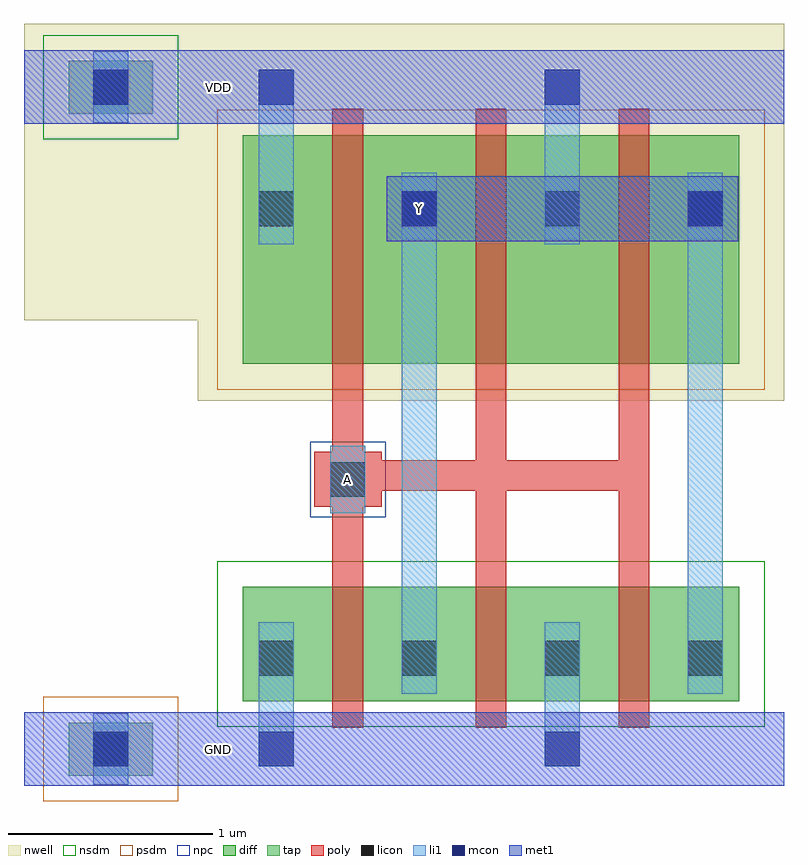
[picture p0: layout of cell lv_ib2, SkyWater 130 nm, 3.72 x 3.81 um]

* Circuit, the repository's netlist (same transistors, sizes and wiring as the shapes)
* NGSPICE file created from lv_ib2.ext - technology: sky130A

.subckt ib2 A Y VDD GND w_0_341# VSUBS
X0 Y A VDD w_0_341# sky130_fd_pr__pfet_01v8 ad=0.308 pd=1.67 as=0.4928 ps=3.12 w=1.12 l=0.15
X1 GND A Y VSUBS sky130_fd_pr__nfet_01v8 ad=0.154 pd=1.11 as=0.154 ps=1.11 w=0.56 l=0.15
X2 Y A GND VSUBS sky130_fd_pr__nfet_01v8 ad=0.2464 pd=2 as=0.154 ps=1.11 w=0.56 l=0.15
X3 Y A VDD w_0_341# sky130_fd_pr__pfet_01v8 ad=0.4928 pd=3.12 as=0.308 ps=1.67 w=1.12 l=0.15
X4 VDD A Y w_0_341# sky130_fd_pr__pfet_01v8 ad=0.308 pd=1.67 as=0.308 ps=1.67 w=1.12 l=0.15
X5 Y A GND VSUBS sky130_fd_pr__nfet_01v8 ad=0.154 pd=1.11 as=0.2464 ps=2 w=0.56 l=0.15
.ends

.subckt lv_ib2 A Y VDD GND
Xu A Y VDD GND VDD GND ib2
.ends

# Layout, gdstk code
import gdstk
lib = gdstk.Library(unit=1e-6, precision=1e-09)
def R(c, l, rs):  # rectangles x0, y0, x1, y1
    for r in rs: c.add(gdstk.rectangle(r[:2], r[2:], *l))
def A(c, l, x, y, w, h, nx, ny, dx, dy):  # array of equal rectangles
    R(c, l, [(x+i*dx, y+j*dy, x+i*dx+w, y+j*dy+h) for i in range(nx) for j in range(ny)])
nwell = (64, 20)
diff = (65, 20)
tap = (65, 44)
poly = (66, 20)
licon = (66, 44)
li1 = (67, 20)
mcon = (67, 44)
met1 = (68, 20)
nsdm = (93, 44)
psdm = (94, 20)
npc = (95, 20)

ib2 = lib.new_cell('ib2')
R(ib2, nwell, [(0,1.705,2.87,3.55)])
R(ib2, diff, [(0.22,0.235,2.65,0.795), (0.22,1.885,2.65,3.005)])
R(ib2, poly, [(0.66,0.105,0.81,1.185), (1.36,0.105,1.51,1.265), (2.06,0.105,2.21,1.265), (0.57,1.185,0.9,1.265), (0.57,1.265,2.21,1.415), (0.57,1.415,0.9,1.455), (1.36,1.415,1.51,3.135), (2.06,1.415,2.21,3.135), (0.66,1.455,0.81,3.135)])
A(ib2, licon, 0.3, 0.36, 0.17, 0.17, 4, 2, 0.7, 2.2)
R(ib2, licon, [(0.65,1.235,0.82,1.405)])
R(ib2, li1, [(0.3,-0.085,0.47,0.62), (1.7,-0.085,1.87,0.62), (1,0.27,1.17,2.82), (2.4,0.27,2.57,2.82), (0.65,1.155,0.82,1.485), (0.3,2.47,0.47,3.325), (1.7,2.47,1.87,3.325)])
R(ib2, mcon, [(0.3,-0.085,0.47,0.085), (1.7,-0.085,1.87,0.085), (1,2.56,1.17,2.73), (2.4,2.56,2.57,2.73), (0.3,3.155,0.47,3.325), (1.7,3.155,1.87,3.325)])
R(ib2, met1, [(0,-0.18,2.87,0.18), (0.925,2.485,2.645,2.805), (0,3.06,2.87,3.42)])
R(ib2, nsdm, [(0.095,0.11,2.775,0.92)])
R(ib2, psdm, [(0.095,1.76,2.775,3.13)])
R(ib2, npc, [(0.55,1.135,0.92,1.505)])
ib2.add(gdstk.Label('A', (0.735,1.32), layer=67, texttype=5))
ib2.add(gdstk.Label('Y', (1.085,2.645), layer=68, texttype=5))
ib2.add(gdstk.Label('VDD', (0.1,3.24), layer=68, texttype=5))
ib2.add(gdstk.Label('GND', (0.1,0), layer=68, texttype=5))

tap_ = lib.new_cell('tap')
R(tap_, nwell, [(0,2.1,0.85,3.55)])
R(tap_, tap, [(0.22,-0.13,0.63,0.13), (0.22,3.11,0.63,3.37)])
R(tap_, licon, [(0.34,-0.085,0.51,0.085), (0.34,3.155,0.51,3.325)])
R(tap_, li1, [(0.34,-0.175,0.51,0.175), (0.34,3.065,0.51,3.415)])
R(tap_, mcon, [(0.34,-0.085,0.51,0.085), (0.34,3.155,0.51,3.325)])
R(tap_, met1, [(0,-0.18,0.85,0.18), (0,3.06,0.85,3.42)])
R(tap_, nsdm, [(0.095,2.985,0.755,3.495)])
R(tap_, psdm, [(0.095,-0.255,0.755,0.255)])
tap_.add(gdstk.Label('VDD', (0.1,3.24), layer=68, texttype=5))
tap_.add(gdstk.Label('GND', (0.1,0), layer=68, texttype=5))

lv_ib2 = lib.new_cell('lv_ib2')
R(lv_ib2, li1, [(1.5,1.235,1.67,1.405)])
R(lv_ib2, met1, [(0.865,-0.085,1.035,0.085), (1.85,2.56,2.02,2.73), (0.865,3.155,1.035,3.325)])
lv_ib2.add(gdstk.Reference(ib2, (0.85,0)))
lv_ib2.add(gdstk.Reference(tap_, (0,0)))
lv_ib2.add(gdstk.Label('A', (1.585,1.32), layer=67, texttype=5))
lv_ib2.add(gdstk.Label('Y', (1.935,2.645), layer=68, texttype=5))
lv_ib2.add(gdstk.Label('VDD', (0.95,3.24), layer=68, texttype=5))
lv_ib2.add(gdstk.Label('GND', (0.95,0), layer=68, texttype=5))

lib.write_gds('lv_ib2.gds')
